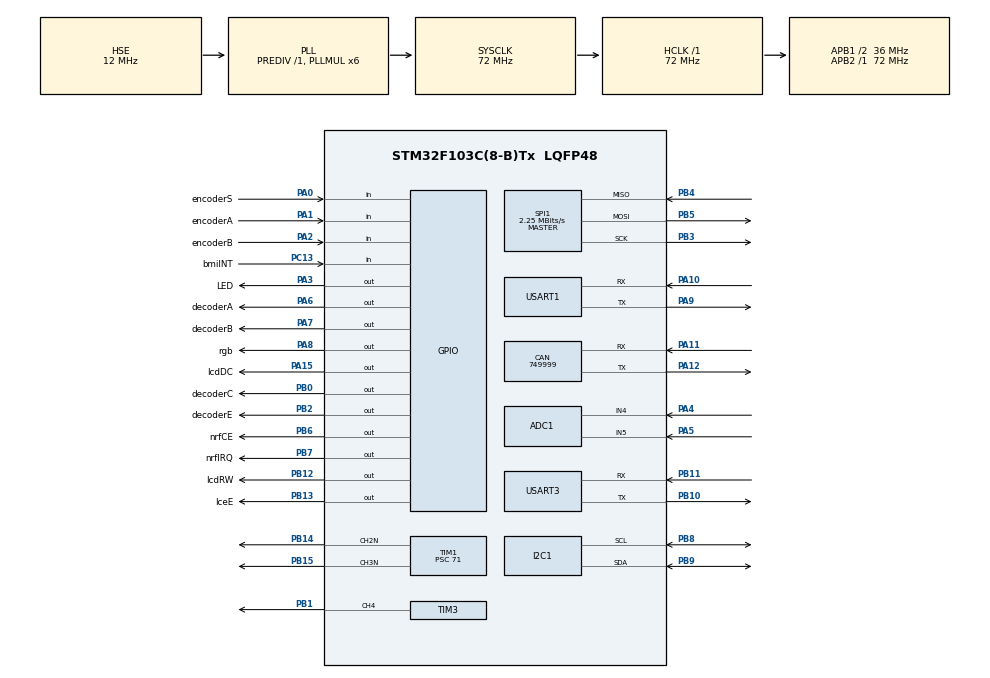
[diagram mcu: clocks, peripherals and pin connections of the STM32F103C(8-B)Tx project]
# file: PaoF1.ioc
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ADC1.Channel-2\#ChannelRegularConversion=ADC_CHANNEL_4
ADC1.Channel-3\#ChannelRegularConversion=ADC_CHANNEL_5
ADC1.ContinuousConvMode=ENABLE
ADC1.NbrOfConversion=2
ADC1.NbrOfConversionFlag=1
ADC1.Rank-2\#ChannelRegularConversion=1
ADC1.Rank-3\#ChannelRegularConversion=2
ADC1.SamplingTime-2\#ChannelRegularConversion=ADC_SAMPLETIME_55CYCLES_5
ADC1.SamplingTime-3\#ChannelRegularConversion=ADC_SAMPLETIME_55CYCLES_5
ADC1.master=1
CAN.CalculateBaudRate=749999
CAN.CalculateTimeBit=1333
CAN.CalculateTimeQuantum=444.44444444444446
Dma.ADC1.2.Direction=DMA_PERIPH_TO_MEMORY
Dma.ADC1.2.Instance=DMA1_Channel1
Dma.ADC1.2.MemDataAlignment=DMA_MDATAALIGN_HALFWORD
Dma.ADC1.2.MemInc=DMA_MINC_ENABLE
Dma.ADC1.2.Mode=DMA_CIRCULAR
Dma.ADC1.2.PeriphDataAlignment=DMA_PDATAALIGN_HALFWORD
Dma.ADC1.2.PeriphInc=DMA_PINC_DISABLE
Dma.ADC1.2.Priority=DMA_PRIORITY_LOW
Dma.Request0=USART1_RX
Dma.Request1=USART1_TX
Dma.Request2=ADC1
Dma.USART1_RX.0.Direction=DMA_PERIPH_TO_MEMORY
Dma.USART1_RX.0.Instance=DMA1_Channel5
Dma.USART1_RX.0.MemDataAlignment=DMA_MDATAALIGN_BYTE
Dma.USART1_RX.0.MemInc=DMA_MINC_ENABLE
Dma.USART1_RX.0.Mode=DMA_CIRCULAR
Dma.USART1_RX.0.PeriphDataAlignment=DMA_PDATAALIGN_BYTE
Dma.USART1_RX.0.PeriphInc=DMA_PINC_DISABLE
Dma.USART1_RX.0.Priority=DMA_PRIORITY_LOW
Dma.USART1_TX.1.Direction=DMA_MEMORY_TO_PERIPH
Dma.USART1_TX.1.Instance=DMA1_Channel4
Dma.USART1_TX.1.MemDataAlignment=DMA_MDATAALIGN_BYTE
Dma.USART1_TX.1.MemInc=DMA_MINC_ENABLE
Dma.USART1_TX.1.Mode=DMA_NORMAL
Dma.USART1_TX.1.PeriphDataAlignment=DMA_PDATAALIGN_BYTE
Dma.USART1_TX.1.PeriphInc=DMA_PINC_DISABLE
Dma.USART1_TX.1.Priority=DMA_PRIORITY_LOW
I2C1.I2C_Mode=I2C_Fast
Mcu.Family=STM32F1
Mcu.Name=STM32F103C(8-B)Tx
Mcu.Package=LQFP48
NVIC.ADC1_2_IRQn=true\:0\:0\:false\:false\:true\:true\:true\:true
NVIC.DMA1_Channel1_IRQn=true\:0\:0\:false\:false\:true\:false\:true\:true
NVIC.DMA1_Channel4_IRQn=true\:0\:0\:false\:false\:true\:false\:true\:true
NVIC.DMA1_Channel5_IRQn=true\:0\:0\:false\:false\:true\:false\:true\:true
NVIC.PriorityGroup=NVIC_PRIORITYGROUP_4
NVIC.TIM2_IRQn=true\:0\:0\:false\:false\:true\:true\:true\:true
NVIC.TIM4_IRQn=true\:0\:0\:false\:false\:true\:true\:true\:true
NVIC.USART1_IRQn=true\:0\:0\:false\:false\:true\:true\:true\:true
NVIC.USART3_IRQn=true\:0\:0\:false\:false\:true\:true\:true\:true
PA0-WKUP.GPIO_Label=encoderS
PA0-WKUP.GPIO_PuPd=GPIO_PULLUP
PA0-WKUP.Signal=GPIO_Input
PA1.GPIO_Label=encoderA
PA1.GPIO_PuPd=GPIO_PULLUP
PA1.Signal=GPIO_Input
PA10.Mode=Asynchronous
PA10.Signal=USART1_RX
PA11.Mode=CAN_Activate
PA11.Signal=CAN_RX
PA12.Mode=CAN_Activate
PA12.Signal=CAN_TX
PA13.Mode=Serial_Wire
PA13.Signal=SYS_JTMS-SWDIO
PA14.Mode=Serial_Wire
PA14.Signal=SYS_JTCK-SWCLK
PA15.GPIO_Label=lcdDC
PA15.GPIO_Speed=GPIO_SPEED_FREQ_HIGH
PA15.Signal=GPIO_Output
PA2.GPIO_Label=encoderB
PA2.GPIO_PuPd=GPIO_PULLUP
PA2.Signal=GPIO_Input
PA3.GPIO_Label=LED
PA3.Signal=GPIO_Output
PA4.Signal=ADCx_IN4
PA5.Signal=ADCx_IN5
PA6.GPIO_Label=decoderA
PA6.GPIO_Speed=GPIO_SPEED_FREQ_HIGH
PA6.Signal=GPIO_Output
PA7.GPIO_Label=decoderB
PA7.GPIO_Speed=GPIO_SPEED_FREQ_HIGH
PA7.Signal=GPIO_Output
PA8.GPIO_Label=rgb
PA8.GPIO_Speed=GPIO_SPEED_FREQ_HIGH
PA8.Signal=GPIO_Output
PA9.Mode=Asynchronous
PA9.Signal=USART1_TX
PB0.GPIO_Label=decoderC
PB0.GPIO_Speed=GPIO_SPEED_FREQ_HIGH
PB0.Signal=GPIO_Output
PB1.Signal=S_TIM3_CH4
PB10.Mode=Asynchronous
PB10.Signal=USART3_TX
PB11.Mode=Asynchronous
PB11.Signal=USART3_RX
PB12.GPIO_Label=lcdRW
PB12.GPIO_Speed=GPIO_SPEED_FREQ_HIGH
PB12.Signal=GPIO_Output
PB13.GPIO_Label=lceE
PB13.GPIO_Speed=GPIO_SPEED_FREQ_HIGH
PB13.Signal=GPIO_Output
PB14.Mode=Output Compare2 CH2N
PB14.Signal=TIM1_CH2N
PB15.Mode=Output Compare3 CH3N
PB15.Signal=TIM1_CH3N
PB2.GPIO_Label=decoderE
PB2.GPIO_Speed=GPIO_SPEED_FREQ_HIGH
PB2.Signal=GPIO_Output
PB3.Mode=Full_Duplex_Master
PB3.Signal=SPI1_SCK
PB4.Mode=Full_Duplex_Master
PB4.Signal=SPI1_MISO
PB5.Mode=Full_Duplex_Master
PB5.Signal=SPI1_MOSI
PB6.GPIO_Label=nrfCE
PB6.GPIO_Speed=GPIO_SPEED_FREQ_HIGH
PB6.Signal=GPIO_Output
PB7.GPIO_Label=nrfIRQ
PB7.GPIO_Speed=GPIO_SPEED_FREQ_HIGH
PB7.Signal=GPIO_Output
PB8.Mode=I2C
PB8.Signal=I2C1_SCL
PB9.Mode=I2C
PB9.Signal=I2C1_SDA
PC13-TAMPER-RTC.GPIO_Label=bmiINT
PC13-TAMPER-RTC.GPIO_PuPd=GPIO_PULLUP
PC13-TAMPER-RTC.Signal=GPIO_Input
PC14-OSC32_IN.Mode=LSE-External-Oscillator
PC14-OSC32_IN.Signal=RCC_OSC32_IN
PC15-OSC32_OUT.Mode=LSE-External-Oscillator
PC15-OSC32_OUT.Signal=RCC_OSC32_OUT
PD0-OSC_IN.Mode=HSE-External-Oscillator
PD0-OSC_IN.Signal=RCC_OSC_IN
PD1-OSC_OUT.Mode=HSE-External-Oscillator
PD1-OSC_OUT.Signal=RCC_OSC_OUT
ProjectManager.HeapSize=0x200
ProjectManager.StackSize=0x400
ProjectManager.TargetToolchain=CMake
RCC.ADCPresc=RCC_ADCPCLK2_DIV6
RCC.AHBFreq_Value=72000000
RCC.APB1CLKDivider=RCC_HCLK_DIV2
RCC.APB1Freq_Value=36000000
RCC.APB1TimFreq_Value=72000000
RCC.APB2Freq_Value=72000000
RCC.APB2TimFreq_Value=72000000
RCC.HCLKFreq_Value=72000000
RCC.HSE_VALUE=12000000
RCC.PLLMUL=RCC_PLL_MUL6
RCC.PLLSourceVirtual=RCC_PLLSOURCE_HSE
RCC.RTCClockSelection=RCC_RTCCLKSOURCE_LSE
RCC.SYSCLKFreq_VALUE=72000000
RCC.SYSCLKSource=RCC_SYSCLKSOURCE_PLLCLK
RCC.USBFreq_Value=72000000
SH.ADCx_IN4.0=ADC1_IN4,IN4
SH.ADCx_IN5.0=ADC2_IN5
SH.ADCx_IN5.1=ADC1_IN5,IN5
SH.S_TIM3_CH4.0=TIM3_CH4,PWM Generation4 CH4
SPI1.BaudRatePrescaler=SPI_BAUDRATEPRESCALER_32
SPI1.CLKPhase=SPI_PHASE_1EDGE
SPI1.CLKPolarity=SPI_POLARITY_LOW
SPI1.CalculateBaudRate=2.25 MBits/s
SPI1.Direction=SPI_DIRECTION_2LINES
SPI1.Mode=SPI_MODE_MASTER
SPI1.VirtualType=VM_MASTER
TIM1.Channel-Output\ Compare2\ CH2N=TIM_CHANNEL_2
TIM1.Channel-Output\ Compare3\ CH3N=TIM_CHANNEL_3
TIM1.Period=99
TIM1.Prescaler=71
TIM2.AutoReloadPreload=TIM_AUTORELOAD_PRELOAD_ENABLE
TIM2.Period=999
TIM2.Prescaler=71
TIM3.Channel-PWM\ Generation4\ CH4=TIM_CHANNEL_4
TIM3.Prescaler=7
TIM4.AutoReloadPreload=TIM_AUTORELOAD_PRELOAD_ENABLE
TIM4.Period=9999
TIM4.Prescaler=119
USART1.VirtualMode=VM_ASYNC
USART3.VirtualMode=VM_ASYNC
VP_RTC_VS_RTC_Activate.Mode=RTC_Enabled
VP_TIM2_VS_ClockSourceINT.Mode=Internal
VP_TIM4_VS_ClockSourceINT.Mode=Internal
board=custom

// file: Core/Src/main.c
/* USER CODE BEGIN Header */
/**
  ******************************************************************************
  * @file           : main.c
  * @brief          : Main program body
  ******************************************************************************
  * @attention
  *
  * Copyright (c) 2026 STMicroelectronics.
  * All rights reserved.
  *
  * This software is licensed under terms that can be found in the LICENSE file
  * in the root directory of this software component.
  * If no LICENSE file comes with this software, it is provided AS-IS.
  *
  ******************************************************************************
  */
/* USER CODE END Header */
#include "main.h"
#include "adc.h"
#include "can.h"
#include "dma.h"
#include "i2c.h"
#include "rtc.h"
#include "spi.h"
#include "tim.h"
#include "usart.h"
#include "gpio.h"

/* USER CODE BEGIN Includes */
// 头文件

#include <stdio.h>
#include <string.h>
#include <stdlib.h>

/* USER CODE END Includes */

/* USER CODE BEGIN PTD */
// 类型定义

/* USER CODE END PTD */

/* USER CODE BEGIN PD */
// 宏常量

/* USER CODE END PD */

/* USER CODE BEGIN PM */
// 函数宏

/* USER CODE END PM */

/* USER CODE BEGIN PV */
// 全局变量

/* USER CODE END PV */

void SystemClock_Config(void);
/* USER CODE BEGIN PFP */
// 函数原型

/* USER CODE END PFP */

/* USER CODE BEGIN 0 */
// 预处理
#include "aht20.h"
#include "median_lowpass.h"
#include "i2c_scanner.h"
#include "uart_gpio_indicator.h"
#include "printf.h"
#include "shell.h"
#include "shell_port.h"
#include "u8g2.h"
#include "u8g2_stm32.h"
#include "switch_i2c1.h"
#include "simple_key.h"
#include "lcd1602_port.h"

#define TX_BUFFER_SIZE 64
#define RX_BUFFER_SIZE 64
#define UART_TIMEOUT 100

#define ADC_CHANNEL_COUNT 2

// 定时器触发标志
volatile uint32_t trigger_1k = 0;
volatile uint32_t trigger_60 = 0;

// UART
int8_t tx_buffer[TX_BUFFER_SIZE];
int8_t rx_buffer[RX_BUFFER_SIZE];
int8_t rx_data;
int8_t recv_buf = 0;

// ADC
volatile uint16_t adc_dma_buffer[ADC_CHANNEL_COUNT];

// flag
volatile uint8_t flag = 0;

// count
volatile uint32_t count = 0;

// u8g2
u8g2_t u8g2;
char oled[32];

// LCD1602
lcd1602_t lcd;
char lcd_buf[17];

// AHT20
int16_t temperature;
uint16_t humidity;

// key
Key_t key;

// data
int8_t data1[32] = {0};
int8_t data2[32] = {0};
int8_t data3[32] = {0};
int8_t data4[32] = {0};

// user
uint8_t cnt = 0;

// 定时器中断
void HAL_TIM_PeriodElapsedCallback(TIM_HandleTypeDef* htim)
{
    if (htim->Instance == TIM2)
    {
        // 1000Hz 1ms
        trigger_1k++;
    }
    if (htim->Instance == TIM4)
    {
        // 60Hz 16.667ms
        trigger_60++;
    }
}

// UART回调
void HAL_UART_TxCpltCallback(UART_HandleTypeDef* huart)
{
    if (huart->Instance == USART1)
    {
    }
}

void HAL_UART_RxCpltCallback(UART_HandleTypeDef* huart)
{
    /* 判断是哪个串口触发的中断 */
    if (huart->Instance == USART1)
    {
        //调用shell处理数据的接口
        shellHandler(&shell, recv_buf);
        //使能串口中断接收
        HAL_UART_Receive_IT(&huart1, (uint8_t*)&recv_buf, 1);
    }
}

/* USER CODE END 0 */

int main(void)
{
    /* USER CODE BEGIN 1 */
    // 极早期初始化

    /* USER CODE END 1 */

    /* MCU Configuration--------------------------------------------------------*/

    /* Reset of all peripherals, Initializes the Flash interface and the Systick. */
    HAL_Init();

    /* USER CODE BEGIN Init */
    // 外设初始化

    /* USER CODE END Init */

    /* Configure the system clock */
    SystemClock_Config();

    /* USER CODE BEGIN SysInit */
    // 系统初始化

    /* USER CODE END SysInit */

    /* Initialize all configured peripherals */
    MX_GPIO_Init();
    MX_DMA_Init();
    MX_ADC1_Init();
    MX_TIM2_Init();
    MX_TIM3_Init();
    MX_USART3_UART_Init();
    MX_TIM1_Init();
    MX_USART1_UART_Init();
    MX_CAN_Init();
    MX_I2C1_Init();
    MX_SPI1_Init();
    MX_RTC_Init();
    MX_TIM4_Init();
    /* USER CODE BEGIN 2 */

    // 应用初始化
    Switch_I2C1(0);

    // 定时器中断
    HAL_TIM_Base_Start_IT(&htim2);
    HAL_TIM_Base_Start_IT(&htim4);

    // UART接收中断
    HAL_UART_Receive_IT(&huart1, (uint8_t*)&recv_buf, 1);

    //ACD开启DMA
    HAL_ADCEx_Calibration_Start(&hadc1);
    HAL_ADC_Start_DMA(&hadc1, (uint32_t*)&adc_dma_buffer, ADC_CHANNEL_COUNT);

    // 中位值一阶低通
    MEDIAN_LP_DEFINE(adc_filter_A, 7, 0.10f);
    MEDIAN_LP_DEFINE(adc_filter_V, 7, 0.10f);

    // 按键
    Key_Init(&key, GPIOA, GPIO_PIN_0, 0, 50);

    // 初始化 shell
    userShellInit();

    u8g2Init_SPI(&u8g2);

    // LCD1602 初始化（PCF8574 I2C 提供 D0~D7, GPIO 控制 RS/RW/E, 8-bit 模式）
    Switch_I2C1(I2C1_ON);
    lcd1602_port_init(&lcd);
    Switch_I2C1(I2C1_OFF);

    /* USER CODE END 2 */

    /* Infinite loop */
    while (1)
    {

        /* USER CODE BEGIN 3 */
        // 用户代码 ===================================================

        // if (trigger_60 >= 1)
        // {
        //
        //     trigger_60 = 0;
        // }

        Switch_I2C1(I2C1_ON);
        AHT20_Measure(&hi2c1);
        HAL_Delay(80);
        AHT20_Get_Data(&hi2c1, &temperature, &humidity);

        // LCD1602 显示温湿度
        lcd1602_set_cursor(&lcd, 0, 0);
        sprintf(lcd_buf, "T:%02d.%02d%cC", temperature / 100, temperature % 100, 0xDF);
        lcd1602_print(&lcd, lcd_buf);
        lcd1602_set_cursor(&lcd, 0, 1);
        sprintf(lcd_buf, "R:%02d.%02d%%", humidity / 100, humidity % 100);
        lcd1602_print(&lcd, lcd_buf);

        Switch_I2C1(I2C1_OFF);
        // temperature = median_lowpass(&adc_filter_A, temperature);
        // humidity = median_lowpass(&adc_filter_V, humidity);

        u8g2_FirstPage(&u8g2);
        do
        {
            u8g2_SetFontMode(&u8g2, 1);
            u8g2_SetFontDirection(&u8g2, 0);
            u8g2_SetFont(&u8g2, u8g2_font_t0_16_mr);
            sprintf(oled, "T:%02d.%02dC", temperature / 100, temperature % 100);
            u8g2_DrawStr(&u8g2, 0, 10, oled);
            sprintf(oled, "R:%02d.%02d%%", humidity / 100, humidity % 100);
            u8g2_DrawStr(&u8g2, 0, 24, oled);
        }
        while (u8g2_NextPage(&u8g2));

        // 用户代码 ===================================================
    }
    /* USER CODE END 3 */
}

void SystemClock_Config(void)
{
    RCC_OscInitTypeDef RCC_OscInitStruct = {0};
    RCC_ClkInitTypeDef RCC_ClkInitStruct = {0};
    RCC_PeriphCLKInitTypeDef PeriphClkInit = {0};

    /** Initializes the RCC Oscillators according to the specified parameters
    * in the RCC_OscInitTypeDef structure.
    */
    RCC_OscInitStruct.OscillatorType = RCC_OSCILLATORTYPE_HSE | RCC_OSCILLATORTYPE_LSE;
    RCC_OscInitStruct.HSEState = RCC_HSE_ON;
    RCC_OscInitStruct.HSEPredivValue = RCC_HSE_PREDIV_DIV1;
    RCC_OscInitStruct.LSEState = RCC_LSE_ON;
    RCC_OscInitStruct.HSIState = RCC_HSI_ON;
    RCC_OscInitStruct.PLL.PLLState = RCC_PLL_ON;
    RCC_OscInitStruct.PLL.PLLSource = RCC_PLLSOURCE_HSE;
    RCC_OscInitStruct.PLL.PLLMUL = RCC_PLL_MUL6;
    if (HAL_RCC_OscConfig(&RCC_OscInitStruct) != HAL_OK)
    {
        Error_Handler();
    }

    /** Initializes the CPU, AHB and APB buses clocks
    */
    RCC_ClkInitStruct.ClockType = RCC_CLOCKTYPE_HCLK | RCC_CLOCKTYPE_SYSCLK
        | RCC_CLOCKTYPE_PCLK1 | RCC_CLOCKTYPE_PCLK2;
    RCC_ClkInitStruct.SYSCLKSource = RCC_SYSCLKSOURCE_PLLCLK;
    RCC_ClkInitStruct.AHBCLKDivider = RCC_SYSCLK_DIV1;
    RCC_ClkInitStruct.APB1CLKDivider = RCC_HCLK_DIV2;
    RCC_ClkInitStruct.APB2CLKDivider = RCC_HCLK_DIV1;

    if (HAL_RCC_ClockConfig(&RCC_ClkInitStruct, FLASH_LATENCY_2) != HAL_OK)
    {
        Error_Handler();
    }
    PeriphClkInit.PeriphClockSelection = RCC_PERIPHCLK_RTC | RCC_PERIPHCLK_ADC;
    PeriphClkInit.RTCClockSelection = RCC_RTCCLKSOURCE_LSE;
    PeriphClkInit.AdcClockSelection = RCC_ADCPCLK2_DIV6;
    if (HAL_RCCEx_PeriphCLKConfig(&PeriphClkInit) != HAL_OK)
    {
        Error_Handler();
    }
}

/* USER CODE BEGIN 4 */
// 用户函数区

/* USER CODE END 4 */

void Error_Handler(void)
{
    __disable_irq();
    while (1)
    {
    }
}
